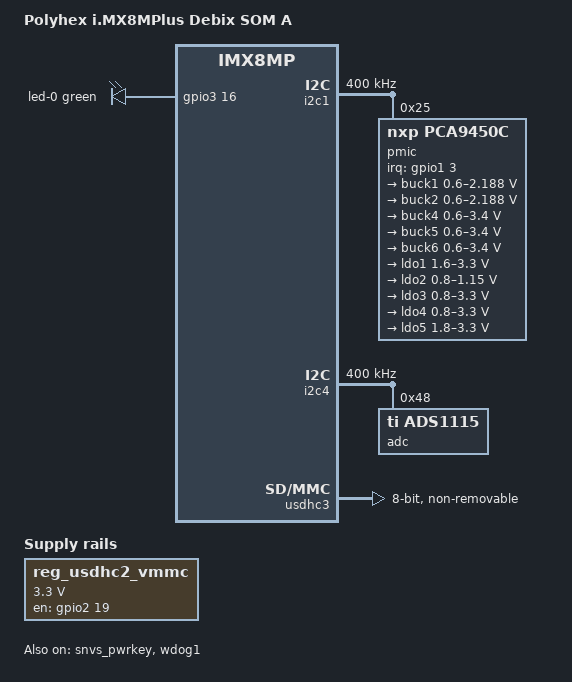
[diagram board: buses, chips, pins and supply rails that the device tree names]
// SPDX-License-Identifier: (GPL-2.0+ OR MIT)
/*
 * Copyright 2019 NXP
 * Copyright (C) 2023 Pengutronix, Marco Felsch <kernel@pengutronix.de>
 */

#include "imx8mp.dtsi"

#include <dt-bindings/leds/common.h>

/ {
	model = "Polyhex i.MX8MPlus Debix SOM A";
	compatible = "polyhex,imx8mp-debix-som-a", "fsl,imx8mp";

	reg_usdhc2_vmmc: regulator-usdhc2 {
		compatible = "regulator-fixed";
		pinctrl-names = "default";
		pinctrl-0 = <&pinctrl_reg_usdhc2_vmmc>;
		regulator-name = "VSD_3V3";
		regulator-min-microvolt = <3300000>;
		regulator-max-microvolt = <3300000>;
		gpio = <&gpio2 19 GPIO_ACTIVE_HIGH>;
		enable-active-high;
	};

	gpio-leds {
		compatible = "gpio-leds";
		pinctrl-names = "default";
		pinctrl-0 = <&pinctrl_gpio_led>;

		led-0 {
			gpios = <&gpio3 16 GPIO_ACTIVE_HIGH>;
			default-state = "on";
			linux,default-trigger = "heartbeat";
			function = LED_FUNCTION_STATUS;
			color = <LED_COLOR_ID_GREEN>;
		};
	};
};

&A53_0 {
	cpu-supply = <&buck2>;
};

&A53_1 {
	cpu-supply = <&buck2>;
};

&A53_2 {
	cpu-supply = <&buck2>;
};

&A53_3 {
	cpu-supply = <&buck2>;
};

&i2c1 {
	clock-frequency = <400000>;
	pinctrl-names = "default";
	pinctrl-0 = <&pinctrl_i2c1>;
	status = "okay";

	pmic@25 {
		compatible = "nxp,pca9450c";
		reg = <0x25>;
		pinctrl-names = "default";
		pinctrl-0 = <&pinctrl_pmic>;
		interrupt-parent = <&gpio1>;
		interrupts = <3 IRQ_TYPE_LEVEL_LOW>;

		regulators {
			buck1: BUCK1 {
				regulator-name = "BUCK1";
				regulator-min-microvolt = <600000>;
				regulator-max-microvolt = <2187500>;
				regulator-boot-on;
				regulator-always-on;
				regulator-ramp-delay = <3125>;
			};

			buck2: BUCK2 {
				regulator-name = "BUCK2";
				regulator-min-microvolt = <600000>;
				regulator-max-microvolt = <2187500>;
				regulator-boot-on;
				regulator-always-on;
				regulator-ramp-delay = <3125>;
				nxp,dvs-run-voltage = <950000>;
				nxp,dvs-standby-voltage = <850000>;
			};

			buck4: BUCK4 {
				regulator-name = "BUCK4";
				regulator-min-microvolt = <600000>;
				regulator-max-microvolt = <3400000>;
				regulator-boot-on;
				regulator-always-on;
			};

			buck5: BUCK5 {
				regulator-name = "BUCK5";
				regulator-min-microvolt = <600000>;
				regulator-max-microvolt = <3400000>;
				regulator-boot-on;
				regulator-always-on;
			};

			buck6: BUCK6 {
				regulator-name = "BUCK6";
				regulator-min-microvolt = <600000>;
				regulator-max-microvolt = <3400000>;
				regulator-boot-on;
				regulator-always-on;
			};

			ldo1: LDO1 {
				regulator-name = "LDO1";
				regulator-min-microvolt = <1600000>;
				regulator-max-microvolt = <3300000>;
				regulator-boot-on;
				regulator-always-on;
			};

			ldo2: LDO2 {
				regulator-name = "LDO2";
				regulator-min-microvolt = <800000>;
				regulator-max-microvolt = <1150000>;
				regulator-boot-on;
				regulator-always-on;
			};

			ldo3: LDO3 {
				regulator-name = "LDO3";
				regulator-min-microvolt = <800000>;
				regulator-max-microvolt = <3300000>;
				regulator-boot-on;
				regulator-always-on;
			};

			ldo4: LDO4 {
				regulator-name = "LDO4";
				regulator-min-microvolt = <800000>;
				regulator-max-microvolt = <3300000>;
				regulator-boot-on;
				regulator-always-on;
			};

			ldo5: LDO5 {
				regulator-name = "LDO5";
				regulator-min-microvolt = <1800000>;
				regulator-max-microvolt = <3300000>;
				regulator-boot-on;
				regulator-always-on;
			};
		};
	};
};

&i2c4 {
	clock-frequency = <400000>;
	pinctrl-names = "default";
	pinctrl-0 = <&pinctrl_i2c4>;
	status = "okay";

	adc@48 {
		 compatible = "ti,ads1115";
		 reg = <0x48>;
		 #address-cells = <1>;
		 #size-cells = <0>;

		 channel@4 {
			 reg = <4>;
			 ti,gain = <1>;
			 ti,datarate = <7>;
		 };

		 channel@5 {
			 reg = <5>;
			 ti,gain = <1>;
			 ti,datarate = <7>;
		 };

		 channel@6 {
			 reg = <6>;
			 ti,gain = <1>;
			 ti,datarate = <7>;
		 };

		 channel@7 {
			 reg = <7>;
			 ti,gain = <1>;
			 ti,datarate = <7>;
		 };
	 };
};

&snvs_pwrkey {
	status = "okay";
};

/* eMMC */
&usdhc3 {
	pinctrl-names = "default", "state_100mhz", "state_200mhz";
	pinctrl-0 = <&pinctrl_usdhc3>;
	pinctrl-1 = <&pinctrl_usdhc3_100mhz>;
	pinctrl-2 = <&pinctrl_usdhc3_200mhz>;
	assigned-clocks = <&clk IMX8MP_CLK_USDHC3>;
	assigned-clock-rates = <400000000>;
	bus-width = <8>;
	non-removable;
	status = "okay";
};

&wdog1 {
	pinctrl-names = "default";
	pinctrl-0 = <&pinctrl_wdog>;
	fsl,ext-reset-output;
	status = "okay";
};

&iomuxc {
	pinctrl_gpio_led: gpioledgrp {
		fsl,pins = <
			MX8MP_IOMUXC_NAND_READY_B__GPIO3_IO16		0x19
		>;
	};

	pinctrl_i2c1: i2c1grp {
		fsl,pins = <
			MX8MP_IOMUXC_I2C1_SCL__I2C1_SCL			0x400001c2
			MX8MP_IOMUXC_I2C1_SDA__I2C1_SDA			0x400001c2
		>;
	};

	pinctrl_i2c4: i2c4grp {
		fsl,pins = <
			MX8MP_IOMUXC_I2C4_SCL__I2C4_SCL			0x400001c3
			MX8MP_IOMUXC_I2C4_SDA__I2C4_SDA			0x400001c3
		>;
	};

	pinctrl_pmic: pmicgrp {
		fsl,pins = <
			MX8MP_IOMUXC_GPIO1_IO03__GPIO1_IO03		0x41
		>;
	};

	pinctrl_reg_usdhc2_vmmc: regusdhc2vmmcgrp {
		fsl,pins = <
			MX8MP_IOMUXC_SD2_RESET_B__GPIO2_IO19		0x41
		>;
	};

	pinctrl_usdhc3: usdhc3grp {
		fsl,pins = <
			MX8MP_IOMUXC_NAND_WE_B__USDHC3_CLK		0x190
			MX8MP_IOMUXC_NAND_WP_B__USDHC3_CMD		0x1d0
			MX8MP_IOMUXC_NAND_DATA04__USDHC3_DATA0		0x1d0
			MX8MP_IOMUXC_NAND_DATA05__USDHC3_DATA1		0x1d0
			MX8MP_IOMUXC_NAND_DATA06__USDHC3_DATA2		0x1d0
			MX8MP_IOMUXC_NAND_DATA07__USDHC3_DATA3		0x1d0
			MX8MP_IOMUXC_NAND_RE_B__USDHC3_DATA4		0x1d0
			MX8MP_IOMUXC_NAND_CE2_B__USDHC3_DATA5		0x1d0
			MX8MP_IOMUXC_NAND_CE3_B__USDHC3_DATA6		0x1d0
			MX8MP_IOMUXC_NAND_CLE__USDHC3_DATA7		0x1d0
			MX8MP_IOMUXC_NAND_CE1_B__USDHC3_STROBE		0x190
		>;
	};

	pinctrl_usdhc3_100mhz: usdhc3-100mhzgrp {
		fsl,pins = <
			MX8MP_IOMUXC_NAND_WE_B__USDHC3_CLK		0x194
			MX8MP_IOMUXC_NAND_WP_B__USDHC3_CMD		0x1d4
			MX8MP_IOMUXC_NAND_DATA04__USDHC3_DATA0		0x1d4
			MX8MP_IOMUXC_NAND_DATA05__USDHC3_DATA1		0x1d4
			MX8MP_IOMUXC_NAND_DATA06__USDHC3_DATA2		0x1d4
			MX8MP_IOMUXC_NAND_DATA07__USDHC3_DATA3		0x1d4
			MX8MP_IOMUXC_NAND_RE_B__USDHC3_DATA4		0x1d4
			MX8MP_IOMUXC_NAND_CE2_B__USDHC3_DATA5		0x1d4
			MX8MP_IOMUXC_NAND_CE3_B__USDHC3_DATA6		0x1d4
			MX8MP_IOMUXC_NAND_CLE__USDHC3_DATA7		0x1d4
			MX8MP_IOMUXC_NAND_CE1_B__USDHC3_STROBE		0x194
		>;
	};

	pinctrl_usdhc3_200mhz: usdhc3-200mhzgrp {
		fsl,pins = <
			MX8MP_IOMUXC_NAND_WE_B__USDHC3_CLK		0x196
			MX8MP_IOMUXC_NAND_WP_B__USDHC3_CMD		0x1d6
			MX8MP_IOMUXC_NAND_DATA04__USDHC3_DATA0		0x1d6
			MX8MP_IOMUXC_NAND_DATA05__USDHC3_DATA1		0x1d6
			MX8MP_IOMUXC_NAND_DATA06__USDHC3_DATA2		0x1d6
			MX8MP_IOMUXC_NAND_DATA07__USDHC3_DATA3		0x1d6
			MX8MP_IOMUXC_NAND_RE_B__USDHC3_DATA4		0x1d6
			MX8MP_IOMUXC_NAND_CE2_B__USDHC3_DATA5		0x1d6
			MX8MP_IOMUXC_NAND_CE3_B__USDHC3_DATA6		0x1d6
			MX8MP_IOMUXC_NAND_CLE__USDHC3_DATA7		0x1d6
			MX8MP_IOMUXC_NAND_CE1_B__USDHC3_STROBE		0x196
		>;
	};

	pinctrl_wdog: wdoggrp {
		fsl,pins = <
			MX8MP_IOMUXC_GPIO1_IO02__WDOG1_WDOG_B		0xc6
		>;
	};
};
